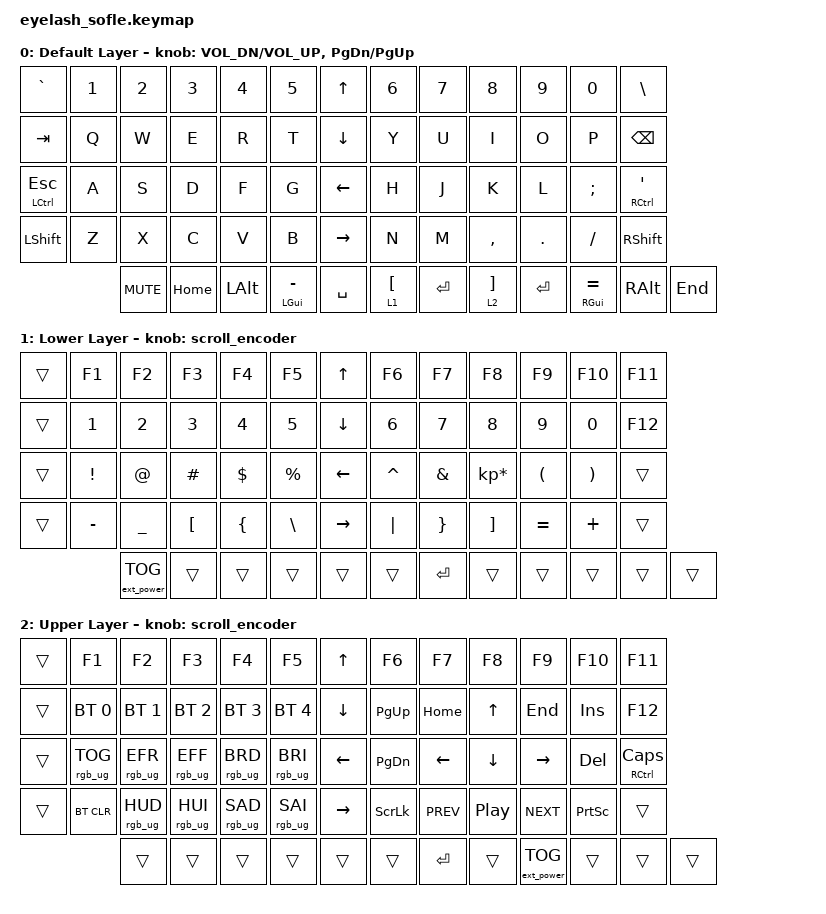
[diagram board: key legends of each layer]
#define ZMK_POINTING_DEFAULT_MOVE_VAL 1200  // 600
#define ZMK_POINTING_DEFAULT_SCRL_VAL 25   // 10

#include <input/processors.dtsi>
#include <zephyr/dt-bindings/input/input-event-codes.h>
#include <behaviors.dtsi>
#include <dt-bindings/zmk/bt.h>
#include <dt-bindings/zmk/keys.h>
#include <dt-bindings/zmk/outputs.h>
#include <dt-bindings/zmk/pointing.h>
#include <dt-bindings/zmk/ext_power.h>
#include <dt-bindings/zmk/rgb.h>

&mmv_input_listener { input-processors = <&zip_xy_scaler 2 1>; };

&msc_input_listener { input-processors = <&zip_scroll_scaler 2 1>; };

&msc {
    acceleration-exponent = <1>;      // 0
    time-to-max-speed-ms = <100>;       // 300
    delay-ms = <0>;                   // 0
};

&mmv {
    time-to-max-speed-ms = <500>;
    acceleration-exponent = <1>;
    trigger-period-ms = <16>;
};

&soft_off { hold-time-ms = <2000>; };

/ {
    scroll_encoder: scroll_encoder {
        compatible = "zmk,behavior-sensor-rotate";
        #sensor-binding-cells = <0>;
        bindings = <&msc SCRL_DOWN>, <&msc SCRL_UP>;

        tap-ms = <100>;
    };

    behaviors {
    };

    combos {
        compatible = "zmk,combos";

        softoff {
            bindings = <&soft_off>;
            key-positions = <14 28 40>;
        };
    };

    keymap {
        compatible = "zmk,keymap";

        default_layer {
// ---------------------------------------------------------------------------------------------------------------
// |  `    |  1  |  2  |  3   |  4   |  5   |                      |  6   |  7    |  8    |  9   |   0   |   \   |
// |  TAB  |  Q  |  W  |  E   |  R   |  T   |           ^          |  Y   |  U    |  I    |  O   |   P   | BKSPC |
// | C/ESC |  A  |  S  |  D   |  F   |  G   |          <v>         |  H   |  J    |  K    |  L   |   ;   |  C/'  |
// | SHIFT |  Z  |  X  |  C   |  V   |  B   |  MUTE  |     | PLAY  |  N   |  M    |  ,    |  .   |   /   | SHIFT |
//               | HOME| ALT  | GUI/-| SPACE|LOWER/[ |     |RAISE/]| ENTER|  GUI/=|  ALT  | END  |
            bindings = <
&kp GRAVE     &kp N1 &kp N2      &kp N3    &kp N4    &kp N5                                &kp UP_ARROW                 &kp N6   &kp N7          &kp N8     &kp N9   &kp N0    &kp BSLH
&kp TAB       &kp Q  &kp W       &kp E     &kp R     &kp T                                 &kp DOWN_ARROW               &kp Y    &kp U           &kp I      &kp O    &kp P     &kp BSPC
&mt LCTRL ESC &kp A  &kp S       &kp D     &kp F     &kp G                                 &kp LEFT_ARROW               &kp H    &kp J           &kp K      &kp L    &kp SEMI  &mt RCTRL SQT
&kp LSHFT     &kp Z  &kp X       &kp C     &kp V     &kp B                                 &kp RIGHT_ARROW              &kp N    &kp M           &kp COMMA  &kp DOT  &kp FSLH  &kp RSHFT
                     &kp C_MUTE  &kp HOME  &kp LALT  &mt LGUI MINUS &kp SPACE  &lt 1 LBKT  &kp ENTER        &lt 2 RBKT  &kp RET  &mt RGUI EQUAL  &kp RALT   &kp END
            >;

            sensor-bindings = <&inc_dec_kp C_VOL_DN C_VOL_UP &inc_dec_kp PG_DN PG_UP>;
            display-name = "Default Layer";
        };

        lower_layer {
// ------------------------------------------------------------------------------------------------------------
// |       |  F1 |  F2 |  F3  |  F4  |  F5  |                   |  F6  |  F7   |  F8   |  F9  |  F10  |  F11  |
// |       |   1 |   2 |   3  |   4  |   5  |                   |   6  |   7   |   8   |   9  |    0  |  F12  |
// |       |  !  |  @  |  #   |  $   |  %   |                   |  ^   |  &    |  *    |  (   |   )   |       |
// |       |  -  |  _  |  [   |  {   |  \   |        |  |       |  |   |  }    |  ]    |  =   |   +   |       |
//               |     |      |      |      |        |  |       |      |       |       |      |
            bindings = <
&trans &kp F1    &kp F2             &kp F3   &kp F4    &kp F5                       &kp UP_ARROW             &kp F6     &kp F7    &kp F8           &kp F9     &kp F10   &kp F11
&trans &kp N1    &kp N2             &kp N3   &kp N4    &kp N5                       &kp DOWN_ARROW           &kp N6     &kp N7    &kp N8           &kp N9     &kp N0    &kp F12
&trans &kp EXCL  &kp AT             &kp HASH &kp DLLR  &kp PRCNT                    &kp LEFT_ARROW           &kp CARET  &kp AMPS  &kp KP_MULTIPLY  &kp LPAR   &kp RPAR  &trans
&trans &kp MINUS &kp UNDER          &kp LBKT &kp LBRC  &kp BSLH                     &kp RIGHT_ARROW          &kp PIPE   &kp RBRC  &kp RBKT         &kp EQUAL  &kp PLUS  &trans
                 &ext_power EP_TOG  &trans   &trans    &trans    &trans  &trans     &kp ENTER        &trans  &trans     &trans    &trans           &trans
            >;

            sensor-bindings = <&scroll_encoder>;
            display-name = "Lower Layer";
        };

        upper_layer {
// ------------------------------------------------------------------------------------------------------------
// |     |  F1  |  F2  |  F3   |  F4   |  F5  |                |  F6  |  F7  |  F8   |  F9  |  F10  |  F11  |
// |     | BT1  | BT2  |  BT3  |  BT4  |  BT5 |                | PGUP | HOME |   ^   | END  |  INS  |  F12  |
// |     | RGBT | RGB- | RGB+  |  BR-  |  BR+ |                | PGDN |   <- |   v   | ->   |  DEL  | C/CAPS|
// |     |BTCLR | HUD  | HUI   |  SAD  |  SAI |      |  |      | SCRL | PRVS | PLAY  | NEXT |  PSCR |       |
//              |      |       |       |      |      |  |      |      |      |       |      |
            bindings = <
&trans &kp F1          &kp F2          &kp F3          &kp F4          &kp F5                          &kp UP_ARROW             &kp F6             &kp F7     &kp F8   &kp F9     &kp F10   &kp F11
&trans &bt BT_SEL 0    &bt BT_SEL 1    &bt BT_SEL 2    &bt BT_SEL 3    &bt BT_SEL 4                    &kp DOWN_ARROW           &kp PG_UP          &kp HOME   &kp UP   &kp END    &kp INS   &kp F12
&trans &rgb_ug RGB_TOG &rgb_ug RGB_EFR &rgb_ug RGB_EFF &rgb_ug RGB_BRD &rgb_ug RGB_BRI                 &kp LEFT_ARROW           &kp PG_DN          &kp LEFT   &kp DOWN &kp RIGHT  &kp DEL   &mt RCTRL CLCK
&trans &bt BT_CLR      &rgb_ug RGB_HUD &rgb_ug RGB_HUI &rgb_ug RGB_SAD &rgb_ug RGB_SAI                 &kp RIGHT_ARROW          &kp SLCK           &kp C_PREV &kp C_PP &kp C_NEXT &kp PSCRN &trans
                       &trans          &trans          &trans          &trans          &trans  &trans  &kp ENTER         &trans &ext_power EP_TOG  &trans     &trans   &trans
            >;

            sensor-bindings = <&scroll_encoder>;
            display-name = "Upper Layer";
        };
    };
};
]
